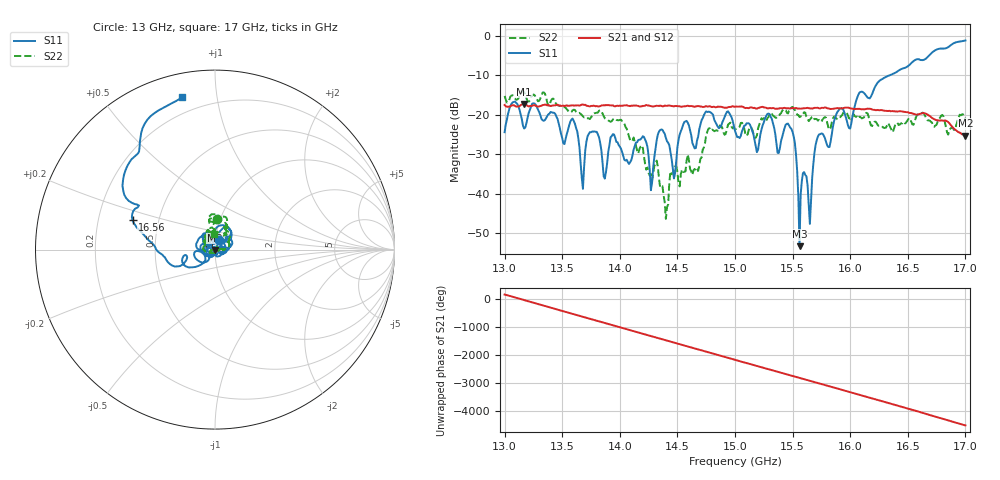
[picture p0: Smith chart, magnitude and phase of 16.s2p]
!Keysight Technologies,P9374A,MY57211807,A.19.30.04
!Date: Friday, May 01, 2026 14:48:27
!Correction: S11(C  2-Port  )
!S21(C  2-Port  )
!S12(C  2-Port  )
!S22(C  2-Port  )
!S2P File: Measurements: S11, S21, S12, S22:
# Hz S  RI  R 50
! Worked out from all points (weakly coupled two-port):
!   401 points, 13 GHz to 17 GHz, reference 50 ohm
!   highest |S21| = -17.30 dB at 13.17 GHz (marker M1); lowest = -25.3 dB at 17 GHz (marker M2)
!   lowest |S11| = -53.3 dB at 15.56 GHz (marker M3), VSWR 1.00, Z = 49.8 - j0.153 ohm
!   |S11| at or under -10 dB: start of sweep to 16.35 GHz
!   |S22| runs from -46.4 to -14.1 dB; largest |S21 - S12| = 0.0041
!   S11 on the Smith chart (normalised r, x): 13 GHz: 1.04, +0.12; 16.56 GHz: 0.35, +0.15; 17 GHz: 0.12, +0.80
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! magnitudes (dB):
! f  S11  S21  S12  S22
! 13 GHz  -24.5  -17.6  -17.5  -15.3
! 13.17 GHz  -23.5  -17.3  -17.3  -14.4
! 13.59 GHz  -21.0  -17.7  -17.6  -18.9
! 13.67 GHz  -36.0  -17.5  -17.4  -20.1
! 13.78 GHz  -24.3  -17.8  -17.8  -19.6
! 13.87 GHz  -36.2  -17.7  -17.6  -20.9
! 13.94 GHz  -25.0  -17.6  -17.6  -21.2
! 14.07 GHz  -32.1  -17.8  -17.8  -24.5
! 14.21 GHz  -25.7  -17.8  -17.8  -30.6
! 14.28 GHz  -37.2  -17.9  -17.9  -36.7
! 14.34 GHz  -24.3  -17.8  -17.8  -36.2
! 14.4 GHz  -25.9  -17.8  -17.8  -46.4
! 14.47 GHz  -36.2  -17.9  -17.9  -34.2
! 14.57 GHz  -21.7  -17.9  -17.9  -34.4
! 15 GHz  -24.1  -18.0  -18.0  -23.7
! 15.47 GHz  -22.8  -18.4  -18.4  -19.1
! 15.56 GHz  -53.3  -18.5  -18.4  -20.6
! 15.67 GHz  -36.0  -18.5  -18.5  -20.6
! 15.73 GHz  -25.0  -18.4  -18.4  -21.3
! 16.34 GHz  -10.1  -19.0  -19.0  -22.7
! 16.56 GHz  -6.2  -19.9  -19.9  -21.8
! 17 GHz  -1.2  -25.3  -25.3  -21.1
